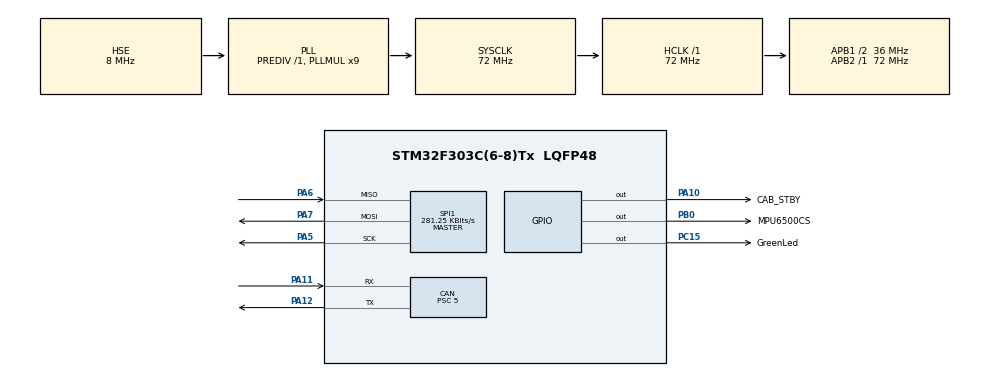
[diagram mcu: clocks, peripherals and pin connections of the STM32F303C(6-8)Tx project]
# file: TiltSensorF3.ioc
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Mcu.Family=STM32F3
RCC.PLLSourceVirtual=RCC_PLLSOURCE_HSE
Dma.SPI1_TX.1.Priority=DMA_PRIORITY_LOW
PA6.Mode=Full_Duplex_Master
Dma.SPI1_TX.1.MemInc=DMA_MINC_ENABLE
NVIC.CAN_RX1_IRQn=true\:0\:0\:false\:false\:true\:true\:true
RCC.CortexFreq_Value=72000000
PA7.Mode=Full_Duplex_Master
PF0\ /\ OSC_IN.Mode=HSE-External-Oscillator
SPI1.VirtualType=VM_MASTER
CAN.ABOM=ENABLE
NVIC.CAN_RX0_IRQn=true\:0\:0\:false\:false\:true\:true\:true
CAN.CalculateBaudRate=800000
VP_SYS_VS_tim7.Mode=TIM7
RCC.SYSCLKSourceVirtual=RCC_SYSCLKSOURCE_PLLCLK
TIM6.Prescaler=9
VP_TIM6_VS_ClockSourceINT.Mode=Enable_Timer
Dma.SPI1_TX.1.PeriphInc=DMA_PINC_DISABLE
PA11.Mode=CAN_Activate
PB0.GPIO_Label=MPU6500CS
Dma.SPI1_RX.0.Mode=DMA_NORMAL
NVIC.TIM7_DAC2_IRQn=true\:0\:0\:false\:false\:true\:false\:true
RCC.APB1CLKDivider=RCC_HCLK_DIV2
Dma.SPI1_TX.1.Direction=DMA_MEMORY_TO_PERIPH
NVIC.TIM6_DAC1_IRQn=true\:0\:0\:false\:false\:true\:true\:true
CAN.CalculateTimeBit=1249.99
ProjectManager.StackSize=0x400
NVIC.DMA1_Channel3_IRQn=true\:0\:0\:false\:false\:true\:false\:true
TIM6.AutoReloadPreload=TIM_AUTORELOAD_PRELOAD_ENABLE
Dma.SPI1_TX.1.MemDataAlignment=DMA_MDATAALIGN_BYTE
PA12.Signal=CAN_TX
CAN.BS2=CAN_BS2_4TQ
CAN.BS1=CAN_BS1_4TQ
CAN.Prescaler=5
Dma.SPI1_RX.0.Direction=DMA_PERIPH_TO_MEMORY
NVIC.DMA1_Channel2_IRQn=true\:0\:0\:false\:false\:true\:false\:true
ProjectManager.TargetToolchain=STM32CubeIDE
PB0.PinState=GPIO_PIN_SET
SPI1.Direction=SPI_DIRECTION_2LINES
RCC.HCLKFreq_Value=72000000
RCC.APB2TimFreq_Value=72000000
SPI1.CalculateBaudRate=281.25 KBits/s
CAN.Mode=CAN_MODE_NORMAL
RCC.LSE_VALUE=32768
PF1\ /\ OSC_OUT.Signal=RCC_OSC_OUT
RCC.AHBFreq_Value=72000000
Dma.SPI1_TX.1.PeriphDataAlignment=DMA_PDATAALIGN_BYTE
PA5.Signal=SPI1_SCK
RCC.HSE_VALUE=8000000
board=custom
RCC.PLLMUL=RCC_PLL_MUL9
Dma.SPI1_RX.0.PeriphInc=DMA_PINC_DISABLE
NVIC.SPI1_IRQn=true\:0\:0\:false\:false\:true\:true\:true
RCC.APB2Freq_Value=72000000
PF0\ /\ OSC_IN.Signal=RCC_OSC_IN
Dma.SPI1_TX.1.Mode=DMA_NORMAL
SPI1.Mode=SPI_MODE_MASTER
PC15\ /\ OSC32_OUT.Signal=GPIO_Output
Dma.SPI1_RX.0.Instance=DMA1_Channel2
CAN.NART=ENABLE
SPI1.DataSize=SPI_DATASIZE_8BIT
PA10.GPIO_Label=CAB_STBY
Dma.SPI1_RX.0.PeriphDataAlignment=DMA_PDATAALIGN_BYTE
Dma.SPI1_RX.0.MemDataAlignment=DMA_MDATAALIGN_BYTE
TIM6.Period=7200
PC15\ /\ OSC32_OUT.GPIO_Label=GreenLed
Mcu.Name=STM32F303C(6-8)Tx
CAN.CalculateTimeQuantum=138.88888888888889
Dma.SPI1_RX.0.MemInc=DMA_MINC_ENABLE
RCC.SYSCLKFreq_VALUE=72000000
Mcu.Package=LQFP48
PA6.Signal=SPI1_MISO
NVIC.TimeBase=TIM7_DAC2_IRQn
PA12.Mode=CAN_Activate
PA11.Signal=CAN_RX
NVIC.TimeBaseIP=TIM7
PA10.Signal=GPIO_Output
ProjectManager.HeapSize=0x200
Dma.SPI1_RX.0.Priority=DMA_PRIORITY_LOW
RCC.HSI_VALUE=8000000
NVIC.PriorityGroup=NVIC_PRIORITYGROUP_4
Dma.Request1=SPI1_TX
RCC.APB1TimFreq_Value=72000000
Dma.Request0=SPI1_RX
RCC.APB1Freq_Value=36000000
SPI1.BaudRatePrescaler=SPI_BAUDRATEPRESCALER_256
PB0.Signal=GPIO_Output
Dma.SPI1_TX.1.Instance=DMA1_Channel3
PF1\ /\ OSC_OUT.Mode=HSE-External-Oscillator
PA5.Mode=Full_Duplex_Master
PA7.Signal=SPI1_MOSI
NVIC.CAN_TX_IRQn=true\:0\:0\:false\:false\:true\:true\:true

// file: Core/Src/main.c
/* USER CODE BEGIN Header */
/**
 ******************************************************************************
 * @file           : main.c
 * @brief          : Main program body
 ******************************************************************************
 * @attention
 *
 * <h2><center>&copy; Copyright (c) 2021 STMicroelectronics.
 * All rights reserved.</center></h2>
 *
 * This software component is licensed by ST under BSD 3-Clause license,
 * the "License"; You may not use this file except in compliance with the
 * License. You may obtain a copy of the License at:
 *                        opensource.org/licenses/BSD-3-Clause
 *
 ******************************************************************************
 */
/* USER CODE END Header */
#include "main.h"

/* USER CODE BEGIN Includes */
//#include "eeprom.h"
/* USER CODE END Includes */

CAN_HandleTypeDef hcan;

SPI_HandleTypeDef hspi1;
DMA_HandleTypeDef hdma_spi1_rx;
DMA_HandleTypeDef hdma_spi1_tx;

TIM_HandleTypeDef htim6;

/* USER CODE BEGIN PV */
uint8_t SPI1ReceiveArray[100], MPU6500Initialized;
uint8_t UART2TransmittArray[200];
uint8_t CalibratingStateMachine, Calibrate;
int16_t AccX, AccY, AccZ;
int16_t GyroX, GyroY, GyroZ;
int16_t AccXZero, AccYZero, AccZZero;
int16_t GyroXZero, GyroYZero, GyroZZero;
int32_t SummAccX, SummAccY, SummAccZ, SummGyroX, SummGyroY, SummGyroZ;
int16_t CalibrateCnt;
float AccXfl, AccYfl, AccZfl;
float GyroXfl, GyroYfl, GyroZfl;
int16_t Temperature, CntSPI;
volatile uint32_t TimestampCounter, Timestamp;
uint8_t PacketRec[SIZE_OF_REC_ARRAY], MPU9250PacketReady;
uint16_t ThisAddr;

/* USER CODE END PV */

void SystemClock_Config(void);
static void MX_GPIO_Init(void);
static void MX_DMA_Init(void);
static void MX_TIM6_Init(void);
static void MX_CAN_Init(void);
static void MX_SPI1_Init(void);
/* USER CODE BEGIN PFP */
void InitMPU6500(void);
uint32_t read_byte(uint32_t *addr);
uint8_t ReadRegisterMPU6500(uint8_t Addr);
void WriteRegisterMPU6500(uint8_t Addr, uint8_t Data);
void ProcessDataMPU6500(void);
void Calibrating(void);

/* USER CODE END PFP */

int main(void) {

	/* MCU Configuration--------------------------------------------------------*/

	/* Reset of all peripherals, Initializes the Flash interface and the Systick. */
	HAL_Init();

	/* USER CODE BEGIN Init */
	FlashReadAll();
	LedStateMachine = 7;

	/* USER CODE END Init */

	/* Configure the system clock */
	SystemClock_Config();

	/* Initialize all configured peripherals */
	MX_GPIO_Init();
	MX_DMA_Init();
	MX_TIM6_Init();
	MX_CAN_Init();
	MX_SPI1_Init();
	/* USER CODE BEGIN 2 */

	InitMPU6500();

	/* USER CODE END 2 */

	/* Infinite loop */
	/* USER CODE BEGIN WHILE */

	while (1) {

		if (MPU9250PacketReady) {
			MPU9250PacketReady = 0;
			ProcessDataMPU6500();
		}

		/* USER CODE END WHILE */

	}
}

void SystemClock_Config(void) {
	RCC_OscInitTypeDef RCC_OscInitStruct = { 0 };
	RCC_ClkInitTypeDef RCC_ClkInitStruct = { 0 };

	/** Initializes the RCC Oscillators according to the specified parameters
	 * in the RCC_OscInitTypeDef structure.
	 */
	RCC_OscInitStruct.OscillatorType = RCC_OSCILLATORTYPE_HSE;
	RCC_OscInitStruct.HSEState = RCC_HSE_ON;
	RCC_OscInitStruct.HSEPredivValue = RCC_HSE_PREDIV_DIV1;
	RCC_OscInitStruct.HSIState = RCC_HSI_ON;
	RCC_OscInitStruct.PLL.PLLState = RCC_PLL_ON;
	RCC_OscInitStruct.PLL.PLLSource = RCC_PLLSOURCE_HSE;
	RCC_OscInitStruct.PLL.PLLMUL = RCC_PLL_MUL9;
	if (HAL_RCC_OscConfig(&RCC_OscInitStruct) != HAL_OK) {
		Error_Handler();
	}
	/** Initializes the CPU, AHB and APB buses clocks
	 */
	RCC_ClkInitStruct.ClockType = RCC_CLOCKTYPE_HCLK | RCC_CLOCKTYPE_SYSCLK
			| RCC_CLOCKTYPE_PCLK1 | RCC_CLOCKTYPE_PCLK2;
	RCC_ClkInitStruct.SYSCLKSource = RCC_SYSCLKSOURCE_PLLCLK;
	RCC_ClkInitStruct.AHBCLKDivider = RCC_SYSCLK_DIV1;
	RCC_ClkInitStruct.APB1CLKDivider = RCC_HCLK_DIV2;
	RCC_ClkInitStruct.APB2CLKDivider = RCC_HCLK_DIV1;

	if (HAL_RCC_ClockConfig(&RCC_ClkInitStruct, FLASH_LATENCY_2) != HAL_OK) {
		Error_Handler();
	}
}

static void MX_CAN_Init(void) {

	hcan.Instance = CAN;
	hcan.Init.Prescaler = 5;
	hcan.Init.Mode = CAN_MODE_NORMAL;
	hcan.Init.SyncJumpWidth = CAN_SJW_1TQ;
	hcan.Init.TimeSeg1 = CAN_BS1_4TQ;
	hcan.Init.TimeSeg2 = CAN_BS2_4TQ;
	hcan.Init.TimeTriggeredMode = DISABLE;
	hcan.Init.AutoBusOff = ENABLE;
	hcan.Init.AutoWakeUp = DISABLE;
	hcan.Init.AutoRetransmission = ENABLE;
	hcan.Init.ReceiveFifoLocked = DISABLE;
	hcan.Init.TransmitFifoPriority = DISABLE;
	if (HAL_CAN_Init(&hcan) != HAL_OK) {
		Error_Handler();
	}
	/* USER CODE BEGIN CAN_Init 2 */

	CANFilters(&hcan);

	/* USER CODE END CAN_Init 2 */

}

static void MX_SPI1_Init(void) {

	/* SPI1 parameter configuration*/
	hspi1.Instance = SPI1;
	hspi1.Init.Mode = SPI_MODE_MASTER;
	hspi1.Init.Direction = SPI_DIRECTION_2LINES;
	hspi1.Init.DataSize = SPI_DATASIZE_8BIT;
	hspi1.Init.CLKPolarity = SPI_POLARITY_LOW;
	hspi1.Init.CLKPhase = SPI_PHASE_1EDGE;
	hspi1.Init.NSS = SPI_NSS_SOFT;
	hspi1.Init.BaudRatePrescaler = SPI_BAUDRATEPRESCALER_256;
	hspi1.Init.FirstBit = SPI_FIRSTBIT_MSB;
	hspi1.Init.TIMode = SPI_TIMODE_DISABLE;
	hspi1.Init.CRCCalculation = SPI_CRCCALCULATION_DISABLE;
	hspi1.Init.CRCPolynomial = 7;
	hspi1.Init.CRCLength = SPI_CRC_LENGTH_DATASIZE;
	hspi1.Init.NSSPMode = SPI_NSS_PULSE_ENABLE;
	if (HAL_SPI_Init(&hspi1) != HAL_OK) {
		Error_Handler();
	}

}

static void MX_TIM6_Init(void) {

	TIM_MasterConfigTypeDef sMasterConfig = { 0 };

	htim6.Instance = TIM6;
	htim6.Init.Prescaler = 9;
	htim6.Init.CounterMode = TIM_COUNTERMODE_UP;
	htim6.Init.Period = 7200;
	htim6.Init.AutoReloadPreload = TIM_AUTORELOAD_PRELOAD_ENABLE;
	if (HAL_TIM_Base_Init(&htim6) != HAL_OK) {
		Error_Handler();
	}
	sMasterConfig.MasterOutputTrigger = TIM_TRGO_RESET;
	sMasterConfig.MasterSlaveMode = TIM_MASTERSLAVEMODE_DISABLE;
	if (HAL_TIMEx_MasterConfigSynchronization(&htim6, &sMasterConfig)
			!= HAL_OK) {
		Error_Handler();
	}
	/* USER CODE BEGIN TIM6_Init 2 */
	htim6.Instance->DIER |= TIM_DIER_UIE;
	htim6.Instance->CR1 |= TIM_CR1_CEN;

	/* USER CODE END TIM6_Init 2 */

}

static void MX_DMA_Init(void) {

	/* DMA controller clock enable */
	__HAL_RCC_DMA1_CLK_ENABLE();

	/* DMA interrupt init */
	/* DMA1_Channel2_IRQn interrupt configuration */
	HAL_NVIC_SetPriority(DMA1_Channel2_IRQn, 0, 0);
	HAL_NVIC_EnableIRQ(DMA1_Channel2_IRQn);
	/* DMA1_Channel3_IRQn interrupt configuration */
	HAL_NVIC_SetPriority(DMA1_Channel3_IRQn, 0, 0);
	HAL_NVIC_EnableIRQ(DMA1_Channel3_IRQn);

}

static void MX_GPIO_Init(void) {
	GPIO_InitTypeDef GPIO_InitStruct = { 0 };

	/* GPIO Ports Clock Enable */
	__HAL_RCC_GPIOC_CLK_ENABLE();
	__HAL_RCC_GPIOF_CLK_ENABLE();
	__HAL_RCC_GPIOA_CLK_ENABLE();
	__HAL_RCC_GPIOB_CLK_ENABLE();

	/*Configure GPIO pin Output Level */
	HAL_GPIO_WritePin(GreenLed_GPIO_Port, GreenLed_Pin, GPIO_PIN_RESET);

	/*Configure GPIO pin Output Level */
	HAL_GPIO_WritePin(MPU6500CS_GPIO_Port, MPU6500CS_Pin, GPIO_PIN_SET);

	/*Configure GPIO pin Output Level */
	HAL_GPIO_WritePin(CAB_STBY_GPIO_Port, CAB_STBY_Pin, GPIO_PIN_RESET);

	/*Configure GPIO pin : GreenLed_Pin */
	GPIO_InitStruct.Pin = GreenLed_Pin;
	GPIO_InitStruct.Mode = GPIO_MODE_OUTPUT_PP;
	GPIO_InitStruct.Pull = GPIO_NOPULL;
	GPIO_InitStruct.Speed = GPIO_SPEED_FREQ_LOW;
	HAL_GPIO_Init(GreenLed_GPIO_Port, &GPIO_InitStruct);

	/*Configure GPIO pin : MPU6500CS_Pin */
	GPIO_InitStruct.Pin = MPU6500CS_Pin;
	GPIO_InitStruct.Mode = GPIO_MODE_OUTPUT_PP;
	GPIO_InitStruct.Pull = GPIO_NOPULL;
	GPIO_InitStruct.Speed = GPIO_SPEED_FREQ_LOW;
	HAL_GPIO_Init(MPU6500CS_GPIO_Port, &GPIO_InitStruct);

	/*Configure GPIO pin : CAB_STBY_Pin */
	GPIO_InitStruct.Pin = CAB_STBY_Pin;
	GPIO_InitStruct.Mode = GPIO_MODE_OUTPUT_PP;
	GPIO_InitStruct.Pull = GPIO_NOPULL;
	GPIO_InitStruct.Speed = GPIO_SPEED_FREQ_LOW;
	HAL_GPIO_Init(CAB_STBY_GPIO_Port, &GPIO_InitStruct);

}

/* USER CODE BEGIN 4 */

void InitMPU6500(void) {
	uint8_t Ch;

	//WriteRegisterMPU6500(CTRL_REG3,0x1);//soft reset

	Ch = ReadRegisterMPU6500(117);
	asm("Nop");

	WriteRegisterMPU6500(PWR_MGMT_1, 0x80);
	HAL_Delay(110);
	WriteRegisterMPU6500(SIGNAL_PATH_RESET, 0x07);
	HAL_Delay(110);
	WriteRegisterMPU6500(USER_CTRL, 0x10);
	HAL_Delay(110);

	WriteRegisterMPU6500(ACCEL_CONFIG, 0x0);
	WriteRegisterMPU6500(ACCEL_CONFIG_2, 0x0);
	WriteRegisterMPU6500(GYRO_CONFIG, 0x0);

	WriteRegisterMPU6500(PWR_MGMT_1, 0x0);
	WriteRegisterMPU6500(PWR_MGMT_2, 0x0);
	//WriteRegisterMPU6500(LP_ACCEL_ODR, 10);

	WriteRegisterMPU6500(FIFO_EN, 0x0);
	WriteRegisterMPU6500(CONFIG, 0x0);

	WriteRegisterMPU6500(INT_PIN_CFG, 0x30);
	WriteRegisterMPU6500(INT_ENABLE, 0x1);

	WriteRegisterMPU6500(SMPLRT_DIV, 0x0);

	MPU6500Initialized = 1;
}

void WriteRegisterMPU6500(uint8_t Addr, uint8_t Data) {
	uint8_t TrmBytes[2];

	HAL_GPIO_WritePin(MPU6500_CS, GPIO_PIN_RESET);
	TrmBytes[0] = Addr;
	TrmBytes[1] = Data;
	HAL_SPI_Transmit(&hspi1, TrmBytes, 2, 1000);
	HAL_GPIO_WritePin(MPU6500_CS, GPIO_PIN_SET);
}

uint8_t ReadRegisterMPU6500(uint8_t Addr) {
	uint8_t TrmByte, RecByte;

	HAL_GPIO_WritePin(MPU6500_CS, GPIO_PIN_RESET);
	TrmByte = Addr;
	TrmByte |= 0x80;
	HAL_SPI_Transmit(&hspi1, &TrmByte, 1, 1000);
	HAL_SPI_Receive(&hspi1, &RecByte, 1, 1000);

	HAL_GPIO_WritePin(MPU6500_CS, GPIO_PIN_SET);

	return RecByte;
}

void ProcessDataMPU6500(void) {

	AccX = (((int16_t) SPI1ReceiveArray[1]) << 8)
			+ (int16_t) SPI1ReceiveArray[2];
	AccY = (((int16_t) SPI1ReceiveArray[3]) << 8)
			+ (int16_t) SPI1ReceiveArray[4];
	AccZ = (((int16_t) SPI1ReceiveArray[5]) << 8)
			+ (int16_t) SPI1ReceiveArray[6];

	Temperature = (((int16_t) SPI1ReceiveArray[7]) << 8)
			+ (int16_t) SPI1ReceiveArray[8];

	GyroX = (((int16_t) SPI1ReceiveArray[9]) << 8)
			+ (int16_t) SPI1ReceiveArray[10];
	GyroY = (((int16_t) SPI1ReceiveArray[11]) << 8)
			+ (int16_t) SPI1ReceiveArray[12];
	GyroZ = (((int16_t) SPI1ReceiveArray[13]) << 8)
			+ (int16_t) SPI1ReceiveArray[14];

	Calibrating();

	AccXfl = AccXZero - AccX; //меняем знак оси, чтобы он соответствовал матрице поворота
	AccYfl = AccYZero - AccY; //меняем знак оси, чтобы он соответствовал матрице поворота
	AccZfl = AccZ - AccZZero;
	GyroXfl = GyroX - GyroXZero;
	GyroYfl = GyroY - GyroYZero;
	GyroZfl = GyroZ - GyroZZero;

	CalcullateTilts();

	TrmCAN(&hcan);

}

void Calibrating(void) {
	if (!Calibrate)
		return;

	switch (CalibratingStateMachine) {
	case 0:
		CalibrateCnt = 250;
		SummAccX = 0;
		SummAccY = 0;
		SummAccZ = 0;
		SummGyroX = 0;
		SummGyroY = 0;
		SummGyroZ = 0;
		CalibratingStateMachine = 1;
		break;
	case 1:
		CalibrateCnt--;
		if (!CalibrateCnt)
			CalibratingStateMachine = 2;
		break;
	case 2:
		SummAccX = SummAccX + AccX;
		SummAccY = SummAccY + AccY;
		SummAccZ = SummAccZ + AccZ;
		SummGyroX = SummGyroX + GyroX;
		SummGyroY = SummGyroY + GyroY;
		SummGyroZ = SummGyroZ + GyroZ;

		CalibrateCnt++;
		if (CalibrateCnt >= 64) {
			AccXZero = (int16_t) (SummAccX >> 6);
			AccYZero = (int16_t) (SummAccY >> 6);
			AccZZero = -16384 + (int16_t) (SummAccZ >> 6);
			GyroXZero = (int16_t) (SummGyroX >> 6);
			GyroYZero = (int16_t) (SummGyroY >> 6);
			GyroZZero = (int16_t) (SummGyroZ >> 6);
			CalibratingStateMachine = 0;
			Calibrate = 0;
			FlashWriteAll();
		}
		break;

	default:
		CalibratingStateMachine = 0;
		break;
	}
}

void HAL_CAN_RxFifo0MsgPendingCallback(CAN_HandleTypeDef *hcan) {

	ProcessCANReceivedPacket(hcan);

}

void HAL_SPI_TxRxCpltCallback(SPI_HandleTypeDef *hspi) {
	if (hspi == &hspi1) {
		HAL_GPIO_WritePin(MPU6500_CS, GPIO_PIN_SET);
		MPU9250PacketReady = 1;
	}
}

/* USER CODE END 4 */

void HAL_TIM_PeriodElapsedCallback(TIM_HandleTypeDef *htim) {
	/* USER CODE BEGIN Callback 0 */
	uint8_t TrmByte;

	if (htim->Instance == TIM6) {
//	    HAL_GPIO_TogglePin(GreenLed);

		Led();

		if (CntSPI > 3) {
			CntSPI = 0;
			if (MPU6500Initialized) {
				TrmByte = ACCEL_XOUT_H;	//Start MPU6500 data transfer   250Hz
				TrmByte |= 0x80;
//				HAL_GPIO_WritePin(MPU6500_CS, GPIO_PIN_SET);
				//			asm("Nop");
				HAL_GPIO_WritePin(MPU6500_CS, GPIO_PIN_RESET);

				HAL_SPI_TransmitReceive_DMA(&hspi1, &TrmByte, SPI1ReceiveArray,
						16);
				//			HAL_GPIO_TogglePin(GPIOD, GPIO_PIN_15); //светодиод
			}
		}

		CntSPI++;

	}

	/* USER CODE END Callback 0 */
	if (htim->Instance == TIM7) {
		HAL_IncTick();
	}
}

void Error_Handler(void) {
	__disable_irq();
	while (1) {
	}
}

/************************ (C) COPYRIGHT STMicroelectronics *****END OF FILE****/
